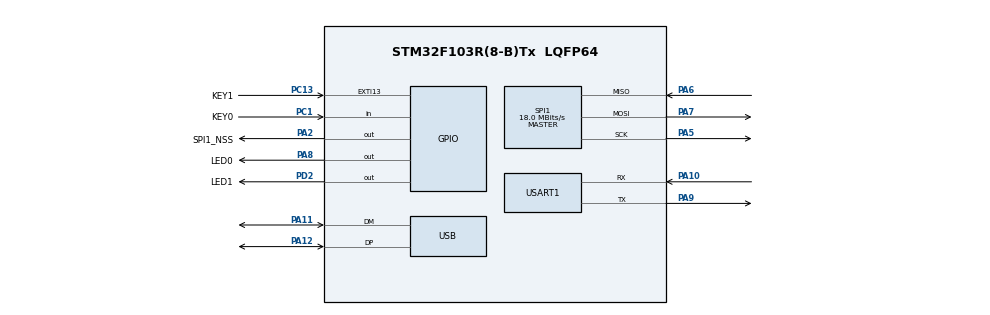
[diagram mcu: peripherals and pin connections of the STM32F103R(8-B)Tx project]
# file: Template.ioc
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Dma.Request0=USART1_RX
Dma.Request1=USART1_TX
Dma.Request2=SPI1_RX
Dma.Request3=SPI1_TX
Dma.SPI1_RX.2.Direction=DMA_PERIPH_TO_MEMORY
Dma.SPI1_RX.2.Instance=DMA1_Channel2
Dma.SPI1_RX.2.MemDataAlignment=DMA_MDATAALIGN_BYTE
Dma.SPI1_RX.2.MemInc=DMA_MINC_ENABLE
Dma.SPI1_RX.2.Mode=DMA_NORMAL
Dma.SPI1_RX.2.PeriphDataAlignment=DMA_PDATAALIGN_BYTE
Dma.SPI1_RX.2.PeriphInc=DMA_PINC_DISABLE
Dma.SPI1_RX.2.Priority=DMA_PRIORITY_LOW
Dma.SPI1_TX.3.Direction=DMA_MEMORY_TO_PERIPH
Dma.SPI1_TX.3.Instance=DMA1_Channel3
Dma.SPI1_TX.3.MemDataAlignment=DMA_MDATAALIGN_BYTE
Dma.SPI1_TX.3.MemInc=DMA_MINC_ENABLE
Dma.SPI1_TX.3.Mode=DMA_NORMAL
Dma.SPI1_TX.3.PeriphDataAlignment=DMA_PDATAALIGN_BYTE
Dma.SPI1_TX.3.PeriphInc=DMA_PINC_DISABLE
Dma.SPI1_TX.3.Priority=DMA_PRIORITY_LOW
Dma.USART1_RX.0.Direction=DMA_PERIPH_TO_MEMORY
Dma.USART1_RX.0.Instance=DMA1_Channel5
Dma.USART1_RX.0.MemDataAlignment=DMA_MDATAALIGN_BYTE
Dma.USART1_RX.0.MemInc=DMA_MINC_ENABLE
Dma.USART1_RX.0.Mode=DMA_NORMAL
Dma.USART1_RX.0.PeriphDataAlignment=DMA_PDATAALIGN_BYTE
Dma.USART1_RX.0.PeriphInc=DMA_PINC_DISABLE
Dma.USART1_RX.0.Priority=DMA_PRIORITY_LOW
Dma.USART1_TX.1.Direction=DMA_MEMORY_TO_PERIPH
Dma.USART1_TX.1.Instance=DMA1_Channel4
Dma.USART1_TX.1.MemDataAlignment=DMA_MDATAALIGN_BYTE
Dma.USART1_TX.1.MemInc=DMA_MINC_ENABLE
Dma.USART1_TX.1.Mode=DMA_NORMAL
Dma.USART1_TX.1.PeriphDataAlignment=DMA_PDATAALIGN_BYTE
Dma.USART1_TX.1.PeriphInc=DMA_PINC_DISABLE
Dma.USART1_TX.1.Priority=DMA_PRIORITY_LOW
Mcu.Family=STM32F1
Mcu.Name=STM32F103R(8-B)Tx
Mcu.Package=LQFP64
NVIC.DMA1_Channel2_IRQn=true\:0\:0\:false\:false\:true\:false\:true
NVIC.DMA1_Channel3_IRQn=true\:0\:0\:false\:false\:true\:false\:true
NVIC.DMA1_Channel4_IRQn=true\:0\:0\:false\:false\:true\:false\:true
NVIC.DMA1_Channel5_IRQn=true\:0\:0\:false\:false\:true\:false\:true
NVIC.PriorityGroup=NVIC_PRIORITYGROUP_4
NVIC.SPI1_IRQn=true\:0\:0\:false\:false\:true\:true\:true
NVIC.USART1_IRQn=true\:0\:0\:false\:false\:true\:true\:true
NVIC.USB_HP_CAN1_TX_IRQn=true\:0\:0\:false\:false\:true\:true\:true
NVIC.USB_LP_CAN1_RX0_IRQn=true\:0\:0\:false\:false\:true\:false\:true
PA0-WKUP.Mode=SYS_WakeUp0
PA0-WKUP.Signal=SYS_WKUP
PA10.Mode=Asynchronous
PA10.Signal=USART1_RX
PA11.Mode=Device
PA11.Signal=USB_DM
PA12.Mode=Device
PA12.Signal=USB_DP
PA13.Mode=JTAG_5_pins
PA13.Signal=SYS_JTMS-SWDIO
PA14.Mode=JTAG_5_pins
PA14.Signal=SYS_JTCK-SWCLK
PA15.Mode=JTAG_5_pins
PA15.Signal=SYS_JTDI
PA2.GPIO_Label=SPI1_NSS
PA2.GPIO_PuPd=GPIO_PULLUP
PA2.Signal=GPIO_Output
PA5.Mode=Full_Duplex_Master
PA5.Signal=SPI1_SCK
PA6.Mode=Full_Duplex_Master
PA6.Signal=SPI1_MISO
PA7.Mode=Full_Duplex_Master
PA7.Signal=SPI1_MOSI
PA8.GPIO_Label=LED0
PA8.Signal=GPIO_Output
PA9.Mode=Asynchronous
PA9.Signal=USART1_TX
PB3.Mode=JTAG_5_pins
PB3.Signal=SYS_JTDO-TRACESWO
PB4.Mode=JTAG_5_pins
PB4.Signal=SYS_NJTRST
PC1.GPIO_Label=KEY0
PC1.GPIO_PuPd=GPIO_PULLUP
PC1.Signal=GPIO_Input
PC13-TAMPER-RTC.GPIO_Label=KEY1
PC13-TAMPER-RTC.GPIO_PuPd=GPIO_PULLUP
PC13-TAMPER-RTC.Signal=GPXTI13
PC14-OSC32_IN.Mode=LSE-External-Oscillator
PC14-OSC32_IN.Signal=RCC_OSC32_IN
PC15-OSC32_OUT.Mode=LSE-External-Oscillator
PC15-OSC32_OUT.Signal=RCC_OSC32_OUT
PD0-OSC_IN.Mode=HSE-External-Oscillator
PD0-OSC_IN.Signal=RCC_OSC_IN
PD1-OSC_OUT.Mode=HSE-External-Oscillator
PD1-OSC_OUT.Signal=RCC_OSC_OUT
PD2.GPIO_Label=LED1
PD2.GPIO_PuPd=GPIO_PULLUP
PD2.Signal=GPIO_Output
ProjectManager.HeapSize=0x200
ProjectManager.StackSize=0x1000
ProjectManager.TargetToolchain=MDK-ARM V5
RCC.AHBFreq_Value=72000000
RCC.APB1CLKDivider=RCC_HCLK_DIV2
RCC.APB1Freq_Value=36000000
RCC.APB1TimFreq_Value=72000000
RCC.APB2Freq_Value=72000000
RCC.APB2TimFreq_Value=72000000
RCC.EnbaleCSS=true
RCC.HCLKFreq_Value=72000000
RCC.PLLMUL=RCC_PLL_MUL9
RCC.PLLSourceVirtual=RCC_PLLSOURCE_HSE
RCC.RCC_MCOSource=RCC_MCO1SOURCE_PLLCLK
RCC.SYSCLKFreq_VALUE=72000000
RCC.SYSCLKSource=RCC_SYSCLKSOURCE_PLLCLK
RCC.USBFreq_Value=48000000
RCC.USBPrescaler=RCC_USBCLKSOURCE_PLL_DIV1_5
SPI1.BaudRatePrescaler=SPI_BAUDRATEPRESCALER_4
SPI1.CLKPhase=SPI_PHASE_2EDGE
SPI1.CLKPolarity=SPI_POLARITY_HIGH
SPI1.CalculateBaudRate=18.0 MBits/s
SPI1.Direction=SPI_DIRECTION_2LINES
SPI1.Mode=SPI_MODE_MASTER
SPI1.VirtualType=VM_MASTER
USART1.VirtualMode=VM_ASYNC
USB_DEVICE.CLASS_NAME_FS=CDC
USB_DEVICE.PID_CDC_FS=0x5740
USB_DEVICE.VID=4292
USB_DEVICE.VirtualMode=Cdc
USB_DEVICE.VirtualModeFS=Cdc_FS
VP_USB_DEVICE_VS_USB_DEVICE_CDC_FS.Mode=CDC_FS
board=custom

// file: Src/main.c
/* USER CODE BEGIN Header */
/**
  ******************************************************************************
  * @file           : main.c
  * @brief          : Main program body
  ******************************************************************************
  * @attention
  *
  * <h2><center>&copy; Copyright (c) 2020 STMicroelectronics.
  * All rights reserved.</center></h2>
  *
  * This software component is licensed by ST under Ultimate Liberty license
  * SLA0044, the "License"; You may not use this file except in compliance with
  * the License. You may obtain a copy of the License at:
  *                             www.st.com/SLA0044
  *
  ******************************************************************************
  */
/* USER CODE END Header */

#include "main.h"
#include "dma.h"
#include "spi.h"
#include "usart.h"
#include "usb_device.h"
#include "gpio.h"

/* USER CODE BEGIN Includes */
#include "GPIO_Demo.h"
#include "UART_Demo.h"
#include "W25Qxx.h"
#include "usbd_conf.h"
#include "usbd_cdc.h"
#include "usbd_desc.h"
#include "usbd_ctlreq.h"
/* USER CODE END Includes */

void SystemClock_Config(void);

/* USER CODE BEGIN 0 */
uint8_t USBD_RxCnt = 0;
uint8_t USBD_RXBuffer[64];
/* USER CODE END 0 */

int main(void)
{

  /* MCU Configuration--------------------------------------------------------*/

  /* Reset of all peripherals, Initializes the Flash interface and the Systick. */
  HAL_Init();

  /* Configure the system clock */
  SystemClock_Config();

  /* Initialize all configured peripherals */
  MX_GPIO_Init();
  MX_DMA_Init();
  MX_SPI1_Init();
  MX_USART1_UART_Init();
  MX_USB_DEVICE_Init();
  /* USER CODE BEGIN 2 */
  //uart_interrupt_receive_configuration();
  uart_rx_dma_configuration();
  /* USER CODE END 2 */

  /* Infinite loop */
  /* USER CODE BEGIN WHILE */
  while (1)
  {
		if(USBD_RxCnt > 0)
		{
			USBD_LL_Transmit(&hUsbDeviceFS,
                       CDC_IN_EP,
                       USBD_RXBuffer,
                       USBD_RxCnt);
			USBD_RxCnt = 0;
		}
    /* USER CODE END WHILE */

  }
}

void SystemClock_Config(void)
{
  LL_FLASH_SetLatency(LL_FLASH_LATENCY_2);

   if(LL_FLASH_GetLatency() != LL_FLASH_LATENCY_2)
  {
    Error_Handler();
  }
  LL_RCC_HSE_Enable();

   /* Wait till HSE is ready */
  while(LL_RCC_HSE_IsReady() != 1)
  {

  }
  LL_RCC_HSE_EnableCSS();
  LL_RCC_PLL_ConfigDomain_SYS(LL_RCC_PLLSOURCE_HSE_DIV_1, LL_RCC_PLL_MUL_9);
  LL_RCC_PLL_Enable();

   /* Wait till PLL is ready */
  while(LL_RCC_PLL_IsReady() != 1)
  {

  }
  LL_RCC_SetAHBPrescaler(LL_RCC_SYSCLK_DIV_1);
  LL_RCC_SetAPB1Prescaler(LL_RCC_APB1_DIV_2);
  LL_RCC_SetAPB2Prescaler(LL_RCC_APB2_DIV_1);
  LL_RCC_SetSysClkSource(LL_RCC_SYS_CLKSOURCE_PLL);

   /* Wait till System clock is ready */
  while(LL_RCC_GetSysClkSource() != LL_RCC_SYS_CLKSOURCE_STATUS_PLL)
  {

  }
  LL_Init1msTick(72000000);
  LL_SYSTICK_SetClkSource(LL_SYSTICK_CLKSOURCE_HCLK);
  LL_SetSystemCoreClock(72000000);
  LL_RCC_SetUSBClockSource(LL_RCC_USB_CLKSOURCE_PLL_DIV_1_5);
}

void Error_Handler(void)
{
}

#ifdef  USE_FULL_ASSERT
/**
  * @brief  Reports the name of the source file and the source line number
  *         where the assert_param error has occurred.
  * @param  file: pointer to the source file name
  * @param  line: assert_param error line source number
  * @retval None
  */
void assert_failed(uint8_t *file, uint32_t line)
{
  /* USER CODE BEGIN 6 */
  /* User can add his own implementation to report the file name and line number,
     tex: printf("Wrong parameters value: file %s on line %d\r\n", file, line) */
     printf("Wrong parameters value: file %s on line %d\r\n", file, line);
  /* USER CODE END 6 */
}
#endif /* USE_FULL_ASSERT */

/************************ (C) COPYRIGHT STMicroelectronics *****END OF FILE****/
